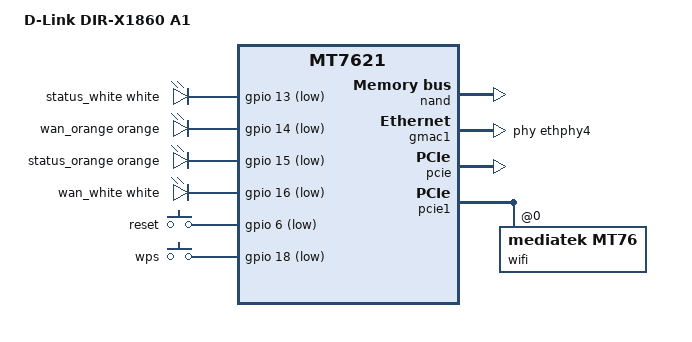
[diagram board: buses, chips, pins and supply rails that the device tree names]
// SPDX-License-Identifier: GPL-2.0-or-later OR MIT

#include "mt7621.dtsi"

#include <dt-bindings/gpio/gpio.h>
#include <dt-bindings/input/input.h>
#include <dt-bindings/leds/common.h>

/ {
	compatible = "dlink,dir-x1860-a1", "mediatek,mt7621-soc";
	model = "D-Link DIR-X1860 A1";

	aliases {
		label-mac-device = &ethernet;
		led-boot = &status_orange;
		led-failsafe = &status_orange;
		led-running = &status_white;
		led-upgrade = &status_orange;
	};

	chosen {
		bootargs = "console=ttyS0,115200";
	};

	leds {
		compatible = "gpio-leds";

		status_white: power {
			function = LED_FUNCTION_STATUS;
			color = <LED_COLOR_ID_WHITE>;
			gpios = <&gpio 13 GPIO_ACTIVE_LOW>;
		};

		wan_orange {
			function = LED_FUNCTION_WAN;
			color = <LED_COLOR_ID_ORANGE>;
			gpios = <&gpio 14 GPIO_ACTIVE_LOW>;
		};

		status_orange: status_orange {
			function = LED_FUNCTION_STATUS;
			color = <LED_COLOR_ID_ORANGE>;
			gpios = <&gpio 15 GPIO_ACTIVE_LOW>;
			default-state = "on";
		};

		wan_white {
			function = LED_FUNCTION_WAN;
			color = <LED_COLOR_ID_WHITE>;
			gpios = <&gpio 16 GPIO_ACTIVE_LOW>;
			linux,default-trigger = "mt7530-0:04:link";
		};
	};

	keys {
		compatible = "gpio-keys";

		reset {
			label = "reset";
			linux,code = <KEY_RESTART>;
			gpios = <&gpio 6 GPIO_ACTIVE_LOW>;
		};

		wps {
			label = "wps";
			linux,code = <KEY_WPS_BUTTON>;
			gpios = <&gpio 18 GPIO_ACTIVE_LOW>;
		};
	};
};

&nand {
	status = "okay";

	partitions {
		compatible = "fixed-partitions";
		#address-cells = <1>;
		#size-cells = <1>;

		partition@0 {
			label = "u-boot";
			reg = <0x00000 0x80000>;
			read-only;
		};

		partition@80000 {
			label = "u-boot-env";
			reg = <0x80000 0x80000>;
			read-only;
		};

		factory: partition@100000 {
			label = "factory";
			reg = <0x100000 0x80000>;
			read-only;

			nvmem-layout {
				compatible = "fixed-layout";
				#address-cells = <1>;
				#size-cells = <1>;

				eeprom_factory_0: eeprom@0 {
					reg = <0x0 0xe00>;
				};

				precal_factory_e10: precal@e10 {
					reg = <0xe10 0x19c10>;
				};
			};
		};

		partition@180000 {
			label = "kernel";
			reg = <0x180000 0x800000>;
		};

		partition@980000 {
			label = "ubi";
			reg = <0x980000 0x2700000>;
		};

		partition@3080000 {
			label = "kernel2";
			reg = <0x3080000 0x800000>;
		};

		partition@5780000 {
			label = "devdata";
			reg = <0x5780000 0x800000>;
			read-only;
		};

		partition@5f80000 {
			label = "user_data";
			reg = <0x5f80000 0x2000000>;
			read-only;
		};
	};
};


&gmac0 {
/*
	nvmem-cells = <&macaddr_config2_10 0>;
	nvmem-cell-names = "mac-address";
*/
};

&gmac1 {
	status = "okay";
	label = "wan";
	phy-handle = <&ethphy4>;
/*
	nvmem-cells = <&macaddr_config2_10 3>;
	nvmem-cell-names = "mac-address";
*/
};

&switch0 {
	ports {
		port@0 {
			status = "okay";
			label = "lan4";
		};

		port@1 {
			status = "okay";
			label = "lan3";
		};

		port@2 {
			status = "okay";
			label = "lan2";
		};

		port@3 {
			status = "okay";
			label = "lan1";
		};
	};
};

&state_default {
	gpio {
		groups = "i2c", "uart3", "jtag", "wdt";
		function = "gpio";
	};
};

&pcie {
	status = "okay";
};

&pcie1 {
	wifi@0,0 {
		compatible = "mediatek,mt76";
		reg = <0x0000 0 0 0 0>;
		nvmem-cells = <&eeprom_factory_0>, <&precal_factory_e10>;
		nvmem-cell-names = "eeprom", "precal";
		mediatek,disable-radar-background;

		#address-cells = <1>;
		#size-cells = <0>;

		band@0 {
			reg = <0>;
/*
			nvmem-cells = <&macaddr_config2_10 1>;
			nvmem-cell-names = "mac-address";
*/
		};

		band@1 {
			reg = <1>;
/*
			nvmem-cells = <&macaddr_config2_10 2>;
			nvmem-cell-names = "mac-address";
*/
		};
	};
};
